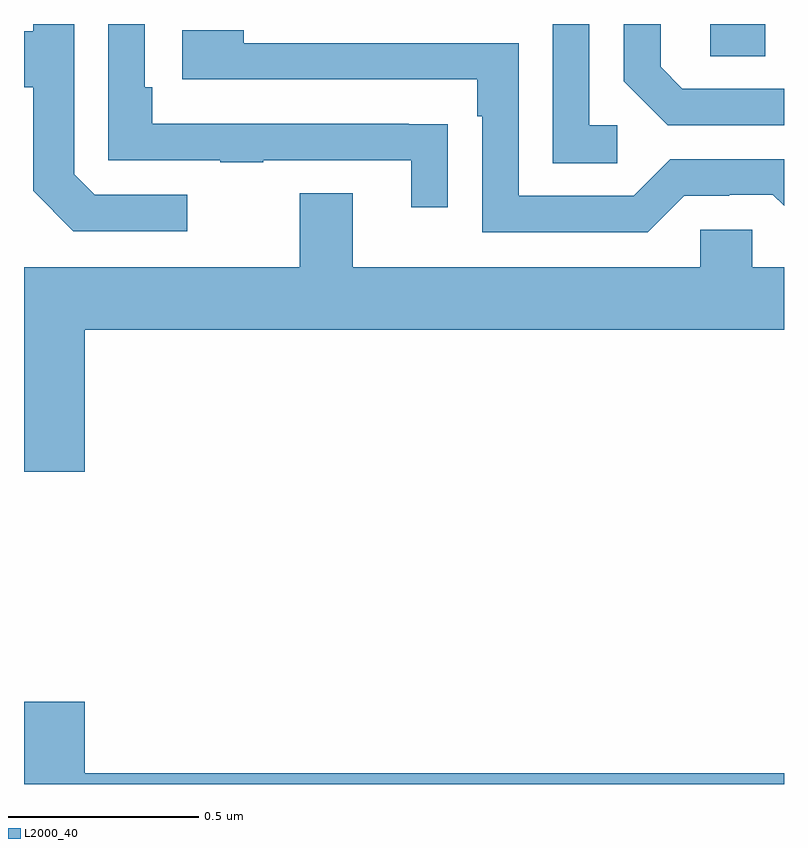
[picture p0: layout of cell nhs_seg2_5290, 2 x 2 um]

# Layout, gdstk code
import gdstk
lib = gdstk.Library(unit=1e-6, precision=1e-09)
def R(c, l, rs):  # rectangles x0, y0, x1, y1
    for r in rs: c.add(gdstk.rectangle(r[:2], r[2:], *l))
def P(c, l, *ps):  # polygons
    for p in ps: c.add(gdstk.Polygon(p, *l))
L2000_40 = (2000, 40)

nhs_seg2_5290 = lib.new_cell('nhs_seg2_5290')
R(nhs_seg2_5290, L2000_40, [(178.806,621.715,178.951,621.8)])
P(nhs_seg2_5290, L2000_40, [(178.561,621.534),(178.488,621.534),(178.488,621.8),(178.392,621.8),(178.392,621.433),(178.561,621.433)],
  [(178.115,621.536),(178.013,621.536),(178.013,621.537),(177.338,621.537),(177.338,621.634),(177.318,621.634),(177.318,621.8),(177.222,621.8),(177.222,621.441),(177.517,621.441),(177.517,621.436),(177.629,621.436),(177.629,621.441),(178.019,621.441),(178.019,621.318),(178.115,621.318)],
  [(177.43,621.351),(177.186,621.351),(177.132,621.405),(177.132,621.8),(177.024,621.8),(177.024,621.781),(177,621.781),(177,621.634),(177.024,621.634),(177.024,621.361),(177.129,621.255),(177.43,621.255)],
  [(179,621.63),(178.732,621.63),(178.675,621.687),(178.675,621.8),(178.578,621.8),(178.578,621.65),(178.694,621.534),(179,621.534)],
  [(178.737,621.348),(178.856,621.348),(178.856,621.351),(178.971,621.351),(179,621.322),(179,621.444),(178.701,621.444),(178.605,621.348),(178.302,621.348),(178.302,621.75),(177.578,621.75),(177.578,621.784),(177.417,621.784),(177.417,621.654),(178.193,621.654),(178.193,621.557),(178.206,621.557),(178.206,621.252),(178.641,621.252)],
  [(177.16,620.996),(179,620.996),(179,621.16),(178.917,621.16),(178.917,621.258),(178.779,621.258),(178.779,621.16),(177.865,621.16),(177.865,621.355),(177.725,621.355),(177.725,621.16),(177,621.16),(177,620.622),(177.16,620.622)],
  [(179,619.828),(177.16,619.828),(177.16,620.017),(177,620.017),(177,619.8),(179,619.8)])

lib.write_gds('nhs_seg2_5290.gds')
